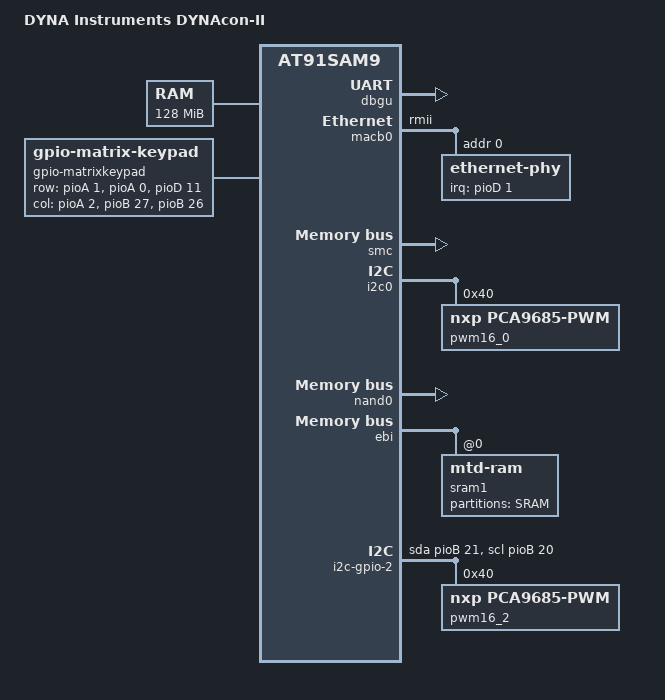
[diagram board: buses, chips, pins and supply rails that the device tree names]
/*
 * at91sam9g45-eco-g45-dynacon.dts - Device Tree file for AT91SAM9G45 ECO-G45 on DYNAconII
 *
 *  Copyright (C) 2017 DYNA Instruments GmbH,
 *                2017 Johannes Lode <linuxer@quantentunnel.de>
 *
 * Licensed under GPLv2 or later.
 */
/dts-v1/;
#include "at91sam9g45.dtsi"
#include <dt-bindings/pwm/pwm.h>

/ {
	model = "DYNA Instruments DYNAcon-II";
	compatible = "dyna,dyncacon", "guf,eco-g45", "atmel,at91sam9g45", "atmel,at91sam9";

	chosen {
		bootargs = "console=ttyS0,115200 earlyprintk ubi.mtd=root root=ubi0:root rootfstype=ubifs";
		stdout-path = "serial0:115200n8";

		/*
		// das wird sonst auch vom triggerhappyd übernommen
		linux,sysrq-reset-seq {
                        keyset = <49
                                  31
                                  32>;
                        timeout-ms = <3000>;
                };
                */
	};

	memory {
		reg = <0x70000000 0x08000000>;
	};

	clocks {
		slow_xtal {
		      clock-frequency = <32768>;
		};

		main_xtal {
		      clock-frequency = <12000000>;
		};
	};

	ahb {
		apb {
			dbgu: serial@ffffee00 {
				status = "okay";
			};
			
			/* 
			usart1: serial@fff90000 {
				pinctrl-0 =
					<&pinctrl_usart1
					 &pinctrl_usart1_rts
					 &pinctrl_usart1_cts>;
				status = "disabled";
			};
			*/

			macb0: ethernet@fffbc000 {
				phy-mode = "rmii";
				status = "okay";
				#address-cells = <1>;
				#size-cells = <0>;
				ethernet-phy@0 {
					// irq_gpio = <&pioD 1 GPIO_ACTIVE_LOW>;
					// interrupt-parent = <&pioD>;
					// interrupts = <1 IRQ_TYPE_LEVEL_LOW>;
					reg = <0>;
					interrupts-extended = <&pioD 1 IRQ_TYPE_LEVEL_LOW>;
				};			
			};

			watchdog@fffffd40 {
				status = "okay";
			};
			
			smc: smc@0xffffe800 {
				compatible = "atmel,at91sam9260-smc", "syscon";
				reg = <0xffffe800 0x200>;
			};
			
			matrix: matrix@0xffffea00 {
				compatible = "atmel,at91sam9g45-matrix", "syscon";
				reg = <0xffffea00 0x200>;
			};


			mmc0: mmc@fff80000 {
				pinctrl-0 = 
					<&pinctrl_board_mmc0
					 &pinctrl_mmc0_slot0_clk_cmd_dat0
					 &pinctrl_mmc0_slot0_dat1_3>;
				status = "disabled";
				slot@0 {
					reg = <0>;
					bus-width = <4>;
					cd-gpios = <&pioD 10 GPIO_ACTIVE_LOW>;
				};
			};

			pinctrl@fffff200 {
				mmc0 {
					pinctrl_board_mmc0: mmc0-board {
						atmel,pins =
							<AT91_PIOD 10 AT91_PERIPH_GPIO AT91_PINCTRL_PULL_UP_DEGLITCH>;	/* PD10 gpio CD pin pull up and deglitch */
					};
				};
				
				pck0 {
					pinctrl_board_pck0: pck0-board {
						atmel,pins = <AT91_PIOD 12 AT91_PERIPH_B AT91_PINCTRL_NONE>;
					};
				};
				

				/* vorerst oder dauerhaft deaktiviert und noch zu editieren
				pwm0 {
					// XXX: leere Einträge brechen die Initialisierung des Pin-Controllers ab!
					// XXX: Also immer den ganzen Knoten auskommentieren!
					// TODO: hier fortsetzen, die Pin-Zuweisungen zu deklarieren
					pinctrl_pwm_leds: pwm-led {
						atmel,pins =
							<AT91_PIOD 0  AT91_PERIPH_B AT91_PINCTRL_PULL_UP	// PD0 periph B
							 AT91_PIOD 31 AT91_PERIPH_B AT91_PINCTRL_PULL_UP>;	// PD31 periph B
					};
				};
				*/
			};

			/* vorerst deaktiviert
			spi0: spi@fffa4000 {
				status = "disabled";
				cs-gpios = <&pioB 3 0>, <0>, <0>, <0>;
			};
			*/

			/* vorerst deaktiviert
			pwm0: pwm@fffb8000 {
				status = "disabled";

				pinctrl-names = "default";
				// TODO: hier die Pin-Zuweisung ausführen
				pinctrl-0 = <&pinctrl_pwm_leds>;
			};
			*/

			gpbr: syscon@fffffd60 {
				status = "okay";
			};

			rtc@fffffdb0 {
				status = "okay";
			};
			
			i2c0: i2c@fff84000 {
				status = "okay";
		
				pwm16_0: pca9685@40 {
					compatible = "nxp,pca9685-pwm";
				// 	status = "disabled";
					#pwm-cells = <2>;
					reg = <0x40>;
				//	invert;
				//	open-drain;
				};
			};

		};

		nand0: nand@40000000 {
			nand-bus-width = <8>;
			nand-ecc-mode = "soft";	// der EEC-on-die Flash von Macronix (bei DYNA bekannt als NAND16) wird mit "soft" EEC-Mode betrieben und in SW abgefangen
			nand-on-flash-bbt;
			status = "okay";

			partitions {
				compatible = "fixed-partitions";
				#address-cells = <1>;
				#size-cells = <1>;

				bootstrap@0 {
					label = "bootstrap";
					reg = <0x0 0x20000>;
				};

				u-boot@20000 {
					label = "u-boot";
					reg = <0x20000 0x80000>;
				};

				u-boot-env1@a0000 {
					label = "env1";
					reg = <0xa0000 0x20000>;
				};

				u-boot-env2@c0000 {
					label = "env2";
					reg = <0xc0000 0x20000>;
				};

				linux-kernel@e0000 {
					label = "linux";
					reg = <0xe0000 0x5e0000>;
				};

				fdt@e0000 {
					label = "fdt";
					reg = <0x6c0000 0x020000>;
				};

				linux-rootfs@6e0000 {
					label = "root";
					reg = <0x6e0000 0xf920000>;
				};
			};
		};

		/*
		sram1: sram@0x10000000 {
			compatible = "mtd-ram";
			reg = <0x10000000 0x80000>;
			bank-width = <2>;
	
			partitions {
				compatible = "fixed-partitions";
				#address-cells = <1>;
				#size-cells = <1>;

				ramdisk@0 {
					label = "SRAM";
					reg = <0x0 0x80000>;
				};
			};
		};
		*/

		ebi: ebi@0x10000000 {
			compatible = "atmel,at91sam9g45-ebi";
			atmel,smc = <&smc>;
			atmel,matrix = <&matrix>;
			reg = <0x10000000 0x10000000
			       // 0x40000000 0x10000000
			       // 0x50000000 0x10000000
			       0x60000000 0x10000000>;
			#address-cells = <2>;
			#size-cells = <1>;
			ranges = <0 0x0 0x10000000 0x10000000
				  // 3 0x0 0x40000000 0x10000000
				  // 4 0x0 0x50000000 0x10000000
				  5 0x0 0x60000000 0x10000000>;
			clocks = <&mck>;

			sram1: sram@0x10000000 {
				compatible = "mtd-ram";
				reg = <0 0 0x80000>;
				bank-width = <2>;
	
				partitions {
					compatible = "fixed-partitions";
					#address-cells = <1>;
					#size-cells = <1>;

					ramdisk@0 {
						label = "SRAM";
						reg = <0x0 0x80000>;
					};
				};
			};

			can0@0x60000000 {
				compatible = "nxp,sja1000";
				reg = <5 0 0x100>;
				
			        assigned-clocks = <&pck0>, <&mck>;
				assigned-clock-parents = <&mck>;
				assigned-clock-rates = <133333333>, <133333333>;

				pinctrl-names = "default";
				pinctrl-0 = <&pinctrl_board_pck0>;
				
				atmel,smc-bus-width = <8>;
				atmel,smc-read-mode = "nrd";
				atmel,smc-write-mode = "nwe";
				atmel,smc-tdf-mode = "optimized";
				atmel,smc-ncs-rd-setup-ns = <15>;
				atmel,smc-nrd-setup-ns = <15>;
				atmel,smc-ncs-rd-pulse-ns = <90>;
				atmel,smc-nrd-pulse-ns = <90>;
				atmel,smc-nrd-cycle-ns = <15>;
				atmel,smc-ncs-wr-setup-ns = <15>;
				atmel,smc-nwe-setup-ns = <15>;
				atmel,smc-ncs-wr-pulse-ns = <68>;
				atmel,smc-nwe-pulse-ns = <68>;
				atmel,smc-nwe-cycle-ns = <90>;
				atmel,smc-tdf-ns = <15>;
			
				interrupt-parent = <&pioD>;
				interrupts = <7 IRQ_TYPE_LEVEL_LOW>;
				
				nxp,external-clock-frequency = <8000000>;
				nxp,tx-output-config = <0x06>;
				nxp,clock-out-frequency =<0>;
				// nxp,no-comparator-bypass;
				
				status = "disabled";
			};
		
		};

	};

	gpio-matrixkeypad {
		compatible = "gpio-matrix-keypad";
		
		// status = "disabled";

		debounce-delay-ms = <30>;
		col-scan-delay-us = <100>;
		wakeup-source;

		gpio-activelow;
		
		row-gpios = <&pioA 1 0
			     &pioA 0 0
			     &pioD 11 0>;

		col-gpios = <&pioA 2 0
			     &pioB 27 0
			     &pioB 26 0>;

		// die Formel der nachfolgenden Einträge ist
		// row << 24 | column << 16 | key-code
		linux,keymap = <0x00000001 // 0 0 KEY_ESC - Escape
				0x00010031 // 0 1 KEY_N   - Num
				0x00020013 // 0 2 KEY_R   - Run

				0x01000065 // 1 0 KEY_LINEFEED - Enter
				0x0101001f // 1 1 KEY_S        - Save
				0x0102002e // 1 2 KEY_C        - Clear

				0x02000016 // 2 0 KEY_U       - Pfeil nach oben/rechts
				0x02010020 // 2 1 KEY_D       - Pfeil nach unten/links
				0x020200f0 // 2 2 KEY_UNKNOWN - unbenutzte Kombination
				>;
	};
	
	/*
	gpio-inputs {
		compatible = "gpio-keys";
		status = "disabled";
		
		mmc0-present {
			gpios = <&pioA 1 0>;
			linux,code = <KEY_MMC>;
		};
	};
	*/

	i2c-gpio-1 {
		compatible = "i2c-gpio";
		status = "disabled";
		
		gpios = <&pioA 20 0 // sda
			 &pioA 21 0 // scl
			>;
	//	i2c-gpio,sda-open-drain;
	//	i2c-gpio,scl-open-drain;
		i2c-gpio,delay-us = <3>;	/* ~100 kHz */
		#address-cells = <1>;
		#size-cells = <0>;
		
		pwm16_1: pca9685@40 {
			compatible = "nxp,pca9685-pwm";
		//	status = "disabled";
			#pwm-cells = <2>;
			reg = <0x40>;
		//	invert;
		//	open-drain;
		};
	};

	i2c-gpio-2 {
		compatible = "i2c-gpio";
		// status = "disabled";

		gpios = <&pioB 21 0 // sda, DISP-D6, PB21
			 &pioB 20 0 // scl, DISP-D7, PB20
			>;
		// i2c-gpio,sda-open-drain;	// nicht einschalten, hat im Test nicht funktioniert
		// i2c-gpio,scl-open-drain;	// nicht einschalten, hat im Test nicht funktioniert
		i2c-gpio,delay-us = <3>;	// ~100 kHz
		#address-cells = <1>;
		#size-cells = <0>;
		
		pwm16_2: pca9685@40 {
			compatible = "nxp,pca9685-pwm";
		// 	status = "disabled";
			#pwm-cells = <2>;
			reg = <0x40>;
		//	invert;
		//	open-drain;
		};
	};

	/*
	gpioleds {
		compatible = "gpio-leds";
		status = "disabled";

		led_disk {
			label = "dyna::disk";
			// gpios = <&pioB 21 0>;
			linux,default-trigger = "nand-disk";
		};

		led_lan_rx {
			label = "dyna::lan-rx";
			// gpios = <&pioB 21 0>;
			linux,default-trigger = "netdev";
		};

		led_lan_tx {
			label = "dyna::lan-tx";
			// gpios = <&pioB 21 0>;
			linux,default-trigger = "netdev";
		};

		led_can_rx {
			label = "dyna::can-rx";
			// gpios = <&pioB 21 0>;
			linux,default-trigger = "netdev";
		};

		led_can_tx {
			label = "dyna::can-tx";
			// gpios = <&pioB 21 0>;
			linux,default-trigger = "netdev";
		};

		led_heartbeat {
			label = "dyna::heartbeat";
			// gpios = <&pioB 21 0>;
			linux,default-trigger = "heartbeat";
		};

		led_cpu0 {
			label = "dyna::cpu0";
			// gpios = <&pioB 21 0>;
			linux,default-trigger = "cpu0";
		};
	};
	*/
};

